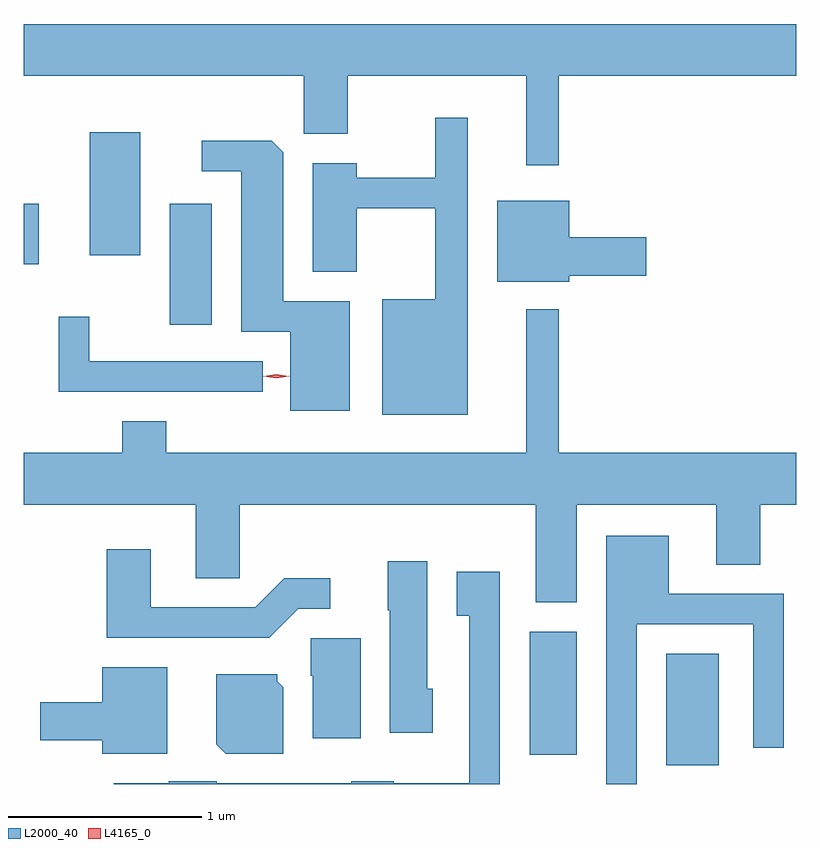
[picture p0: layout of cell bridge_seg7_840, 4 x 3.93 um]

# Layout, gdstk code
import gdstk
lib = gdstk.Library(unit=1e-6, precision=1e-09)
def R(c, l, rs):  # rectangles x0, y0, x1, y1
    for r in rs: c.add(gdstk.rectangle(r[:2], r[2:], *l))
def P(c, l, *ps):  # polygons
    for p in ps: c.add(gdstk.Polygon(p, *l))
L2000_40 = (2000, 40)
L4165_0 = (4165, 0)

bridge_seg7_840 = lib.new_cell('bridge_seg7_840')
R(bridge_seg7_840, L2000_40, [(393.966,1708.526,394.239,1709.104), (393.261,1708.581,393.504,1709.219), (391.396,1710.806,391.614,1711.434), (390.64,1711.121,390.719,1711.434), (390.981,1711.166,391.244,1711.804)])
P(bridge_seg7_840, L2000_40, [(393.409,1712.096),(394.64,1712.096),(394.64,1712.364),(390.64,1712.364),(390.64,1712.096),(392.091,1712.096),(392.091,1711.796),(392.319,1711.796),(392.319,1712.096),(393.241,1712.096),(393.241,1711.633),(393.409,1711.633)],
  [(392.939,1711.878),(392.771,1711.878),(392.771,1711.569),(392.364,1711.569),(392.364,1711.644),(392.136,1711.644),(392.136,1711.081),(392.364,1711.081),(392.364,1711.411),(392.771,1711.411),(392.771,1710.939),(392.496,1710.939),(392.496,1710.341),(392.939,1710.341)],
  [(392.329,1710.929),(391.984,1710.929),(391.984,1711.699),(391.924,1711.759),(391.563,1711.759),(391.563,1711.601),(391.766,1711.601),(391.766,1710.771),(392.021,1710.771),(392.021,1710.361),(392.329,1710.361)],
  [(393.464,1711.061),(393.864,1711.061),(393.864,1711.259),(393.464,1711.259),(393.464,1711.449),(393.091,1711.449),(393.091,1711.031),(393.464,1711.031)],
  [(393.504,1709.876),(394.226,1709.876),(394.226,1709.566),(394.454,1709.566),(394.454,1709.876),(394.64,1709.876),(394.64,1710.144),(393.409,1710.144),(393.409,1710.888),(393.241,1710.888),(393.241,1710.144),(391.379,1710.144),(391.379,1710.309),(391.151,1710.309),(391.151,1710.144),(390.64,1710.144),(390.64,1709.876),(391.531,1709.876),(391.531,1709.496),(391.759,1709.496),(391.759,1709.876),(393.291,1709.876),(393.291,1709.371),(393.504,1709.371)],
  [(391.878,1710.619),(390.979,1710.619),(390.979,1710.848),(390.821,1710.848),(390.821,1710.461),(391.878,1710.461)],
  [(393.814,1709.256),(394.416,1709.256),(394.416,1708.618),(394.574,1708.618),(394.574,1709.414),(393.979,1709.414),(393.979,1709.714),(393.656,1709.714),(393.656,1708.43),(393.814,1708.43)],
  [(392.062,1709.336),(392.228,1709.336),(392.228,1709.494),(391.989,1709.494),(391.839,1709.344),(391.299,1709.344),(391.299,1709.644),(391.071,1709.644),(391.071,1709.186),(391.912,1709.186)],
  [(392.759,1708.924),(392.729,1708.924),(392.729,1709.584),(392.526,1709.584),(392.526,1709.33),(392.536,1709.33),(392.536,1708.696),(392.759,1708.696)],
  [(393.104,1709.529),(392.881,1709.529),(392.881,1709.301),(392.946,1709.301),(392.946,1708.434),(392.555,1708.434),(392.555,1708.444),(392.335,1708.444),(392.335,1708.434),(391.64,1708.434),(391.64,1708.444),(391.39,1708.444),(391.39,1708.434),(391.106,1708.434),(391.106,1708.43),(393.104,1708.43)],
  [(392.384,1709.184),(392.126,1709.184),(392.126,1708.99),(392.136,1708.99),(392.136,1708.666),(392.384,1708.666)],
  [(391.384,1709.034),(391.046,1709.034),(391.046,1708.854),(390.726,1708.854),(390.726,1708.656),(391.046,1708.656),(391.046,1708.586),(391.384,1708.586)],
  [(391.984,1708.932),(391.954,1708.962),(391.954,1708.999),(391.636,1708.999),(391.636,1708.637),(391.687,1708.586),(391.984,1708.586)])
P(bridge_seg7_840, L4165_0, [(391.948,1710.53),(391.88,1710.54),(391.879,1710.54),(391.88,1710.541),(391.948,1710.55),(392.016,1710.541),(392.016,1710.54),(392.016,1710.54)])

lib.write_gds('bridge_seg7_840.gds')
